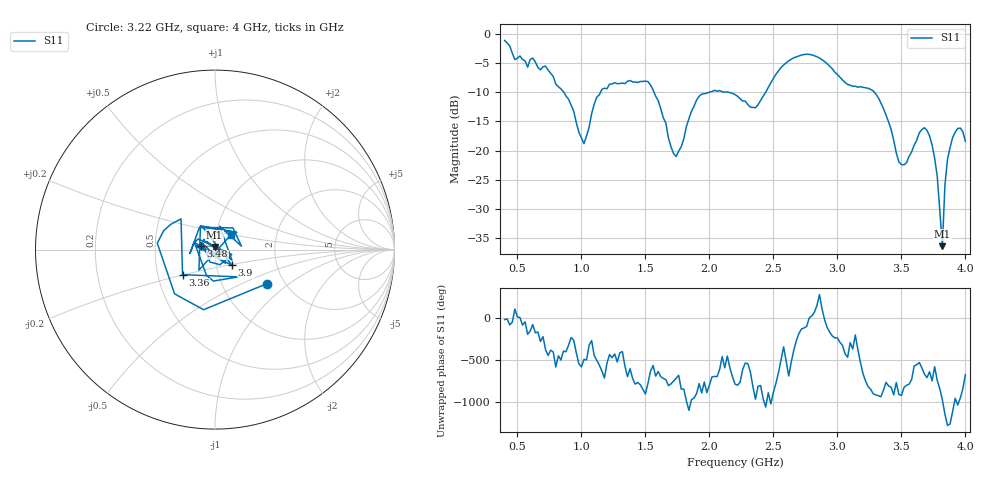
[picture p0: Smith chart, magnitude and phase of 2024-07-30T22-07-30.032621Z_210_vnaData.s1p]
!Created with skrf (http://scikit-rf.org).
# Hz S RI R 50.0
!freq ReS11 ImS11
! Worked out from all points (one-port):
!   181 points, 400 MHz to 4 GHz, reference 50 ohm
!   lowest |S11| = -36.4 dB at 3.82 GHz (marker M1), VSWR 1.03, Z = 49.7 + j1.48 ohm
!   |S11| at or under -10 dB: 1.567 GHz to 2 GHz (432.8 MHz wide, 24.3 % of centre); 2.146 GHz to 2.441 GHz (294.7 MHz wide, 12.8 % of centre); 3.288 GHz to end of sweep (the widest 3 of 5)
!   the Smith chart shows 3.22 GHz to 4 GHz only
!   S11 on the Smith chart (normalised r, x): 3.22 GHz: 1.62, -0.70; 3.36 GHz: 0.67, -0.20; 3.48 GHz: 0.86, +0.03; 3.9 GHz: 1.19, -0.21; 4 GHz: 1.18, +0.19
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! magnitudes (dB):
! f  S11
! 400 MHz  -1.2
! 480 MHz  -4.4
! 720 MHz  -5.5
! 860 MHz  -9.9
! 1.02 GHz  -18.8
! 1.12 GHz  -10.9
! 1.3 GHz  -8.5
! 1.52 GHz  -8.2
! 1.72 GHz  -20.5
! 1.76 GHz  -20.1
! 1.92 GHz  -10.7
! 2.2 GHz  -10.4
! 2.36 GHz  -12.7
! 2.66 GHz  -4.1
! 2.84 GHz  -3.9
! 3.1 GHz  -8.8
! 3.22 GHz  -9.3
! 3.36 GHz  -12.8
! 3.48 GHz  -21.9
! 3.56 GHz  -21.0
! 3.66 GHz  -16.4
! 3.72 GHz  -17.5
! 3.78 GHz  -24.4
! 3.82 GHz  -36.4
! 3.84 GHz  -26.0
! 3.9 GHz  -17.8
! 3.96 GHz  -16.2
! 4 GHz  -18.4
